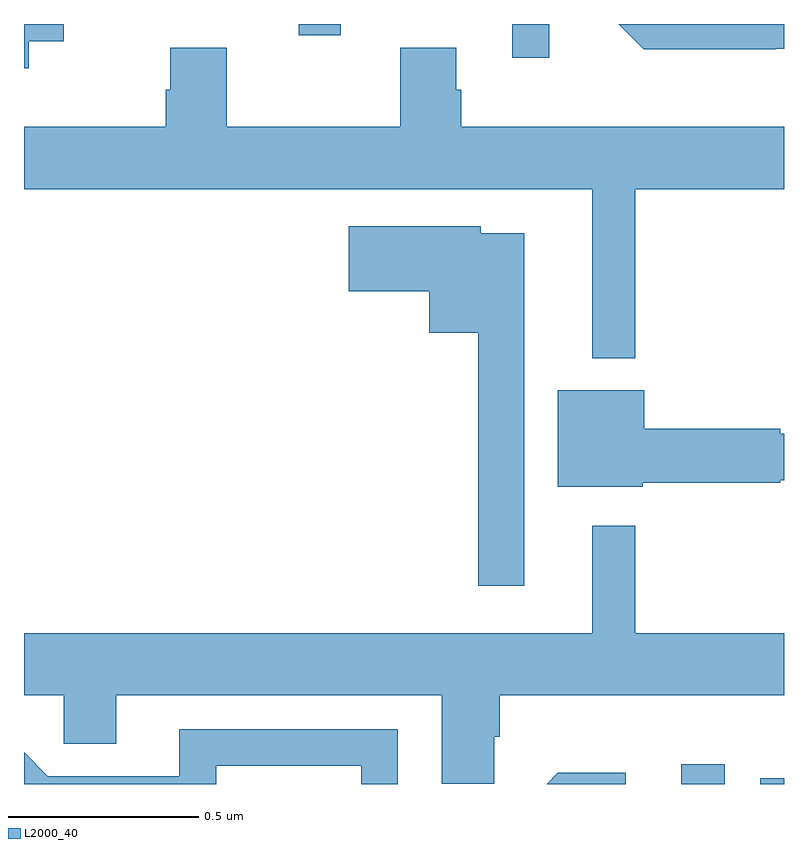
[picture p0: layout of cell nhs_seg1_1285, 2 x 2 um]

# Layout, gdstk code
import gdstk
lib = gdstk.Library(unit=1e-6, precision=1e-09)
def R(c, l, rs):  # rectangles x0, y0, x1, y1
    for r in rs: c.add(gdstk.rectangle(r[:2], r[2:], *l))
def P(c, l, *ps):  # polygons
    for p in ps: c.add(gdstk.Polygon(p, *l))
L2000_40 = (2000, 40)

nhs_seg1_1285 = lib.new_cell('nhs_seg1_1285')
R(nhs_seg1_1285, L2000_40, [(128.729,518.199,128.844,518.251), (128.937,518.199,129,518.214), (128.285,520.11,128.382,520.199), (127.723,520.17,127.834,520.199)])
P(nhs_seg1_1285, L2000_40, [(128.978,520.134),(129,520.134),(129,520.199),(128.565,520.199),(128.631,520.133),(128.978,520.133)],
  [(127.012,520.153),(127.104,520.153),(127.104,520.199),(127,520.199),(127,520.083),(127.012,520.083)],
  [(128.15,520.026),(128.137,520.026),(128.137,520.136),(127.99,520.136),(127.99,519.928),(127.533,519.928),(127.533,520.136),(127.385,520.136),(127.385,520.026),(127.373,520.026),(127.373,519.928),(127,519.928),(127,519.764),(128.495,519.764),(128.495,519.32),(128.609,519.32),(128.609,519.764),(129,519.764),(129,519.928),(128.15,519.928)],
  [(128.317,519.649),(128.202,519.649),(128.202,519.667),(127.854,519.667),(127.854,519.496),(128.066,519.496),(128.066,519.386),(128.196,519.386),(128.196,518.721),(128.317,518.721)],
  [(128.628,518.992),(128.99,518.992),(128.99,518.999),(129,518.999),(129,519.121),(128.99,519.121),(128.99,519.134),(128.632,519.134),(128.632,519.235),(128.405,519.235),(128.405,518.981),(128.628,518.981)],
  [(128.238,518.323),(128.252,518.323),(128.252,518.432),(129,518.432),(129,518.596),(128.609,518.596),(128.609,518.878),(128.495,518.878),(128.495,518.596),(127,518.596),(127,518.432),(127.104,518.432),(127.104,518.305),(127.243,518.305),(127.243,518.432),(128.099,518.432),(128.099,518.2),(128.238,518.2)],
  [(127.506,518.247),(127.887,518.247),(127.887,518.199),(127.983,518.199),(127.983,518.343),(127.409,518.343),(127.409,518.22),(127.062,518.22),(127,518.282),(127,518.199),(127.506,518.199)],
  [(128.584,518.228),(128.405,518.228),(128.376,518.199),(128.584,518.199)])

lib.write_gds('nhs_seg1_1285.gds')
